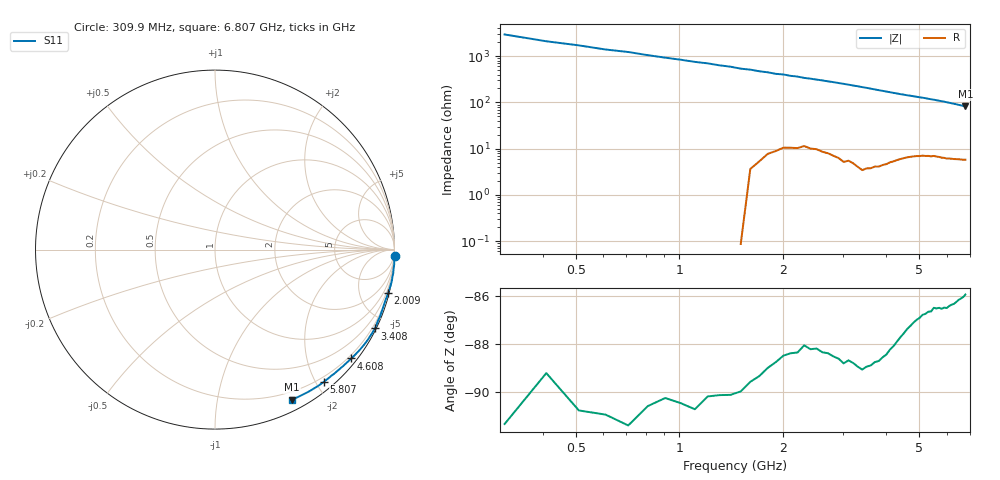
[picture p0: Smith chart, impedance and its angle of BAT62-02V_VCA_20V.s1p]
! Infineon Technologies  Discrete & RF Semiconductors
! BAT62-02V
! VCA = 20 V
! One-Port S-Parameters
# Hz  S  MA  R  50
!f  S11
!Hz  Mag  Ang
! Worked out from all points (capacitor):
!   66 points, 309.9 MHz to 6.807 GHz, reference 50 ohm
!   read as one part to ground: C = 183 fF near 309.9 MHz
!   lowest |Z| = 81.8 ohm at 6.807 GHz (marker M1)
!   S11 on the Smith chart (normalised r, x): 309.9 MHz: -1, -59; 2.009 GHz: 0.21, -8.03; 3.408 GHz: 0.07, -4.29; 4.608 GHz: 0.13, -2.85; 5.807 GHz: 0.13, -2.12; 6.807 GHz: 0.12, -1.63
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3.0985e8  1.001 -1.9
6.097e8  1.001 -4.1
7.0965e8  1.002 -4.7
1.10945e9  1.002 -7.6
1.2094e9  1 -8.2
1.4093e9  1 -9.7
1.50925e9  1 -10.7
1.6092e9  0.9986 -11.2
1.70915e9  0.9976 -12.1
1.8091e9  0.9962 -12.7
1.90905e9  0.9949 -13.7
2.009e9  0.9936 -14.2
2.10895e9  0.9927 -15.2
2.2089e9  0.9923 -15.7
2.30885e9  0.9903 -16.8
2.6087e9  0.9907 -19.0
2.8086e9  0.991 -20.7
3.0085e9  0.9922 -22.4
3.4083e9  0.9929 -26.3
3.6082e9  0.991 -28.3
4.008e9  0.9856 -32.5
4.4078e9  0.9766 -36.7
4.6077e9  0.972 -38.6
5.2074e9  0.9614 -44.2
5.8071e9  0.9546 -50.4
6.007e9  0.9528 -52.7
6.4068e9  0.9464 -57.5
6.8066e9  0.9391 -62.8
